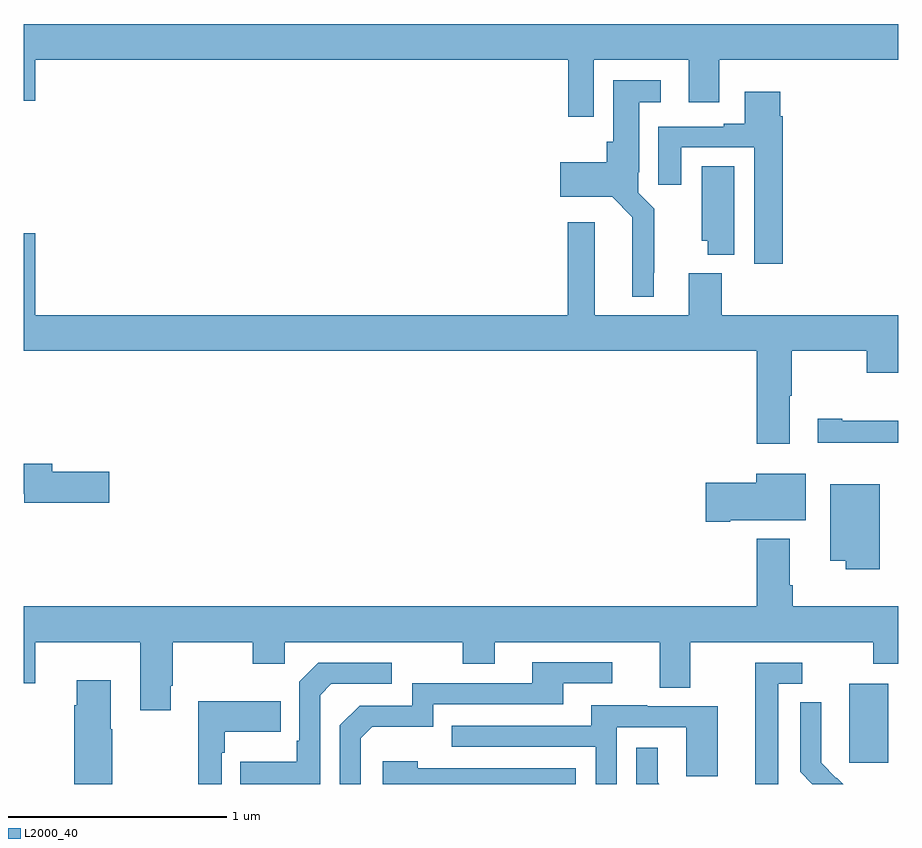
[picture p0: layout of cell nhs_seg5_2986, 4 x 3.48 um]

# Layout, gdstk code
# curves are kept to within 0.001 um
import gdstk
lib = gdstk.Library(unit=1e-6, precision=1e-09)
def R(c, l, rs):  # rectangles x0, y0, x1, y1
    for r in rs: c.add(gdstk.rectangle(r[:2], r[2:], *l))
def P(c, l, *ps):  # polygons
    for p in ps: c.add(gdstk.Polygon(p, *l))
L2000_40 = (2000, 40)

nhs_seg5_2986 = lib.new_cell('nhs_seg5_2986')
R(nhs_seg5_2986, L2000_40, [(288.776,834.897,288.955,835.258)])
P(nhs_seg5_2986, L2000_40, [(287.607,838.112),(288.041,838.112),(288.041,837.918),(288.181,837.918),(288.181,838.112),(289,838.112),(289,838.276),(285,838.276),(285,837.924),(285.052,837.924),(285.052,838.112),(287.491,838.112),(287.491,837.852),(287.607,837.852)],
  [(287.881,837.139),(287.885,837.139),(287.885,837.43),(287.811,837.504),(287.811,837.598),(287.815,837.598),(287.815,837.917),(287.914,837.917),(287.914,838.018),(287.696,838.018),(287.696,837.738),(287.666,837.738),(287.666,837.643),(287.454,837.643),(287.454,837.485),(287.691,837.485),(287.784,837.392),(287.783,837.029),(287.881,837.029)],
  [(288.473,837.854),(288.46,837.854),(288.46,837.967),(288.299,837.967),(288.299,837.82),(288.203,837.82),(288.203,837.807),(287.903,837.807),(287.903,837.54),(288.007,837.54),(288.007,837.711),(288.341,837.711),(288.341,837.18),(288.473,837.18)],
  [(288.25,837.626),(288.101,837.626),(288.101,837.285),(288.128,837.285),(288.128,837.221),(288.25,837.221)],
  [(288.505,836.576),(288.513,836.576),(288.513,836.78),(288.856,836.78),(288.856,836.681),(289,836.681),(289,836.944),(288.194,836.944),(288.194,837.136),(288.041,837.136),(288.041,836.944),(287.611,836.944),(287.611,837.37),(287.489,837.37),(287.489,836.944),(285.052,836.944),(285.052,837.319),(285,837.319),(285,836.78),(288.353,836.78),(288.353,836.355),(288.505,836.355)],
  [(288.908,836.361),(289,836.361),(289,836.46),(288.745,836.46),(288.745,836.47),(288.633,836.47),(288.633,836.36),(288.908,836.36)],
  [(285.391,836.228),(285.13,836.228),(285.13,836.264),(285,836.264),(285,836.128),(285.002,836.128),(285.002,836.086),(285.391,836.086)],
  [(288.232,836.006),(288.577,836.006),(288.577,836.218),(288.35,836.218),(288.35,836.177),(288.12,836.177),(288.12,835.999),(288.232,835.999)],
  [(288.916,836.17),(288.689,836.17),(288.689,835.82),(288.761,835.82),(288.761,835.781),(288.916,835.781)],
  [(285.673,835.249),(285.681,835.249),(285.681,835.448),(286.048,835.448),(286.048,835.349),(286.194,835.349),(286.194,835.448),(287.008,835.448),(287.008,835.349),(287.155,835.349),(287.155,835.448),(287.909,835.448),(287.909,835.24),(288.049,835.24),(288.049,835.448),(288.886,835.448),(288.886,835.349),(289,835.349),(289,835.612),(288.518,835.612),(288.518,835.708),(288.505,835.708),(288.505,835.921),(288.353,835.921),(288.353,835.612),(285,835.612),(285,835.26),(285.052,835.26),(285.052,835.448),(285.533,835.448),(285.533,835.137),(285.673,835.137)],
  [(286.542,835.008),(286.595,835.061),(286.872,835.061),(286.872,835.164),(287.467,835.164),(287.467,835.26),(287.692,835.26),(287.692,835.356),(287.327,835.356),(287.327,835.26),(286.776,835.26),(286.776,835.158),(286.536,835.158),(286.446,835.068),(286.446,834.799),(286.542,834.799)],
  [(288.451,835.257),(288.562,835.257),(288.562,835.353),(288.347,835.353),(288.347,834.799),(288.451,834.799)],
  [(286.356,835.206),(286.407,835.257),(286.684,835.257),(286.684,835.353),(286.347,835.353),(286.26,835.266),(286.26,834.997),(286.248,834.997),(286.248,834.901),(285.991,834.901),(285.991,834.799),(286.356,834.799)],
  [(285.405,835.049),(285.397,835.049),(285.397,835.273),(285.242,835.273),(285.242,835.16),(285.23,835.16),(285.23,834.799),(285.405,834.799)],
  [(285.906,834.941),(285.919,834.941),(285.919,835.037),(286.175,835.037),(286.175,835.177),(285.798,835.177),(285.798,834.799),(285.906,834.799)],
  [(288.72,834.828),(288.717,834.825),(288.647,834.896),(288.647,835.018),(288.648,835.018),(288.648,835.172),(288.552,835.172),(288.552,834.854),(288.607,834.799),(288.749,834.799)],
  [(287.712,835.059),(288.03,835.059),(288.03,834.835),(288.175,834.835),(288.175,835.155),(287.851,835.155),(287.851,835.159),(287.597,835.159),(287.597,835.065),(286.957,835.065),(286.957,834.969),(287.616,834.969),(287.616,834.799),(287.712,834.799)],
  [(287.899,834.807),(287.899,834.964),(287.802,834.964),(287.802,834.799),(287.907,834.799)],
  [(287.526,834.87),(286.802,834.87),(286.802,834.904),(286.641,834.904),(286.641,834.799),(287.526,834.799)])

lib.write_gds('nhs_seg5_2986.gds')
